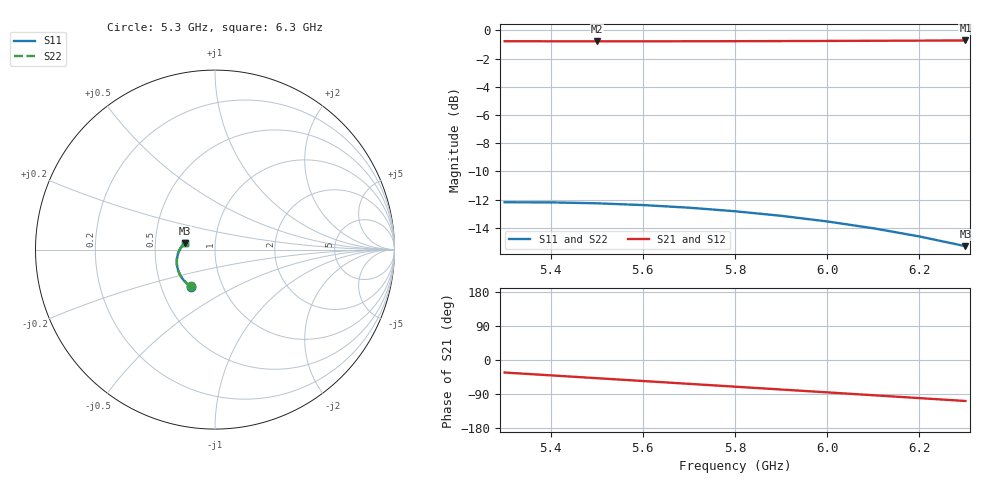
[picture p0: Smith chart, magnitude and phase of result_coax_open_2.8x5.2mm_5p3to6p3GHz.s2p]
! T01: W=2.8, L=5.2 mm L2 windows; original tapers; L3 intact
! 11 direct frequencies 5.3-6.3 GHz; 50-ohm coax reference; connectors included
# Hz S RI R 50
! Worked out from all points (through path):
!   11 points, 5.3 GHz to 6.3 GHz, reference 50 ohm
!   highest |S21| = -0.72 dB at 6.3 GHz (marker M1); lowest = -0.8 dB at 5.5 GHz (marker M2)
!   group delay of S21, straight-line fit = 209 ps
!   lowest |S11| = -15.3 dB at 6.3 GHz (marker M3), VSWR 1.42, Z = 35.5 + j2.65 ohm
!   |S11| at or under -10 dB: start of sweep to end of sweep
!   |S22| runs from -15.3 to -12.2 dB; largest |S21 - S12| = 1e-12
5.3e9  -0.1343 -0.206  0.7673 -0.4987  0.7673 -0.4987  -0.135 -0.2054
5.4e9  -0.1585 -0.1878  0.6955 -0.5939  0.6955 -0.5939  -0.1592 -0.187
5.5e9  -0.1789 -0.1658  0.6123 -0.679  0.6123 -0.679  -0.1796 -0.1648
5.6e9  -0.1949 -0.1407  0.5189 -0.7529  0.5189 -0.7529  -0.1956 -0.1395
5.7e9  -0.2061 -0.1135  0.4167 -0.8143  0.4167 -0.8143  -0.2067 -0.1121
5.8e9  -0.2121 -0.0852  0.3072 -0.8623  0.3072 -0.8623  -0.2125 -0.0835
5.9e9  -0.2128 -0.0569  0.1921 -0.8958  0.1921 -0.8958  -0.213 -0.055
6e9  -0.2083 -0.0296  0.0732 -0.9143  0.0732 -0.9143  -0.2083 -0.0276
6.1e9  -0.1989 -0.00438  -0.0477 -0.9171  -0.0477 -0.9171  -0.1987 -0.00225
6.2e9  -0.1853 0.0178  -0.1685 -0.904  -0.1685 -0.904  -0.1847 0.02
6.3e9  -0.1681 0.0361  -0.2872 -0.8749  -0.2872 -0.8749  -0.1672 0.0383
